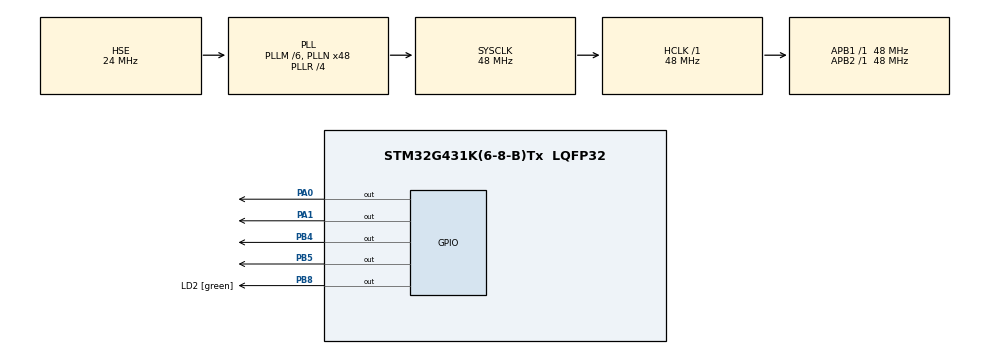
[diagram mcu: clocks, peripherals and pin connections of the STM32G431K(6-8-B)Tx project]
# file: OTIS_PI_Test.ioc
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Mcu.Family=STM32G4
Mcu.Name=STM32G431K(6-8-B)Tx
Mcu.Package=LQFP32
NVIC.PriorityGroup=NVIC_PRIORITYGROUP_4
NVIC.TIM4_IRQn=true\:0\:0\:false\:false\:true\:true\:true
PA0.Signal=GPIO_Output
PA1.Signal=GPIO_Output
PA13.GPIO_Label=T_SWDIO
PA13.Mode=Serial_Wire
PA13.Signal=SYS_JTMS-SWDIO
PA14.GPIO_Label=T_SWCLK
PA14.Mode=Serial_Wire
PA14.Signal=SYS_JTCK-SWCLK
PB4.Signal=GPIO_Output
PB5.Signal=GPIO_Output
PB8-BOOT0.GPIO_Label=LD2 [green]
PB8-BOOT0.Signal=GPIO_Output
PF0-OSC_IN.Mode=HSE-External-Oscillator
PF0-OSC_IN.Signal=RCC_OSC_IN
PF1-OSC_OUT.Mode=HSE-External-Oscillator
PF1-OSC_OUT.Signal=RCC_OSC_OUT
ProjectManager.HeapSize=0x200
ProjectManager.StackSize=0x400
ProjectManager.TargetToolchain=STM32CubeIDE
RCC.ADC12Freq_Value=48000000
RCC.AHBFreq_Value=48000000
RCC.APB1Freq_Value=48000000
RCC.APB1TimFreq_Value=48000000
RCC.APB2Freq_Value=48000000
RCC.APB2TimFreq_Value=48000000
RCC.CortexFreq_Value=48000000
RCC.EXTERNAL_CLOCK_VALUE=12288000
RCC.HCLKFreq_Value=48000000
RCC.HSE_VALUE=24000000
RCC.HSI48_VALUE=48000000
RCC.HSI_VALUE=16000000
RCC.LSE_VALUE=32768
RCC.PLLM=RCC_PLLM_DIV6
RCC.PLLN=48
RCC.PLLR=RCC_PLLR_DIV4
RCC.PLLSourceVirtual=RCC_PLLSOURCE_HSE
RCC.SYSCLKFreq_VALUE=48000000
RCC.SYSCLKSource=RCC_SYSCLKSOURCE_PLLCLK
RCC.USBFreq_Value=96000000
RCC.VCOOutputFreq_Value=192000000
TIM4.PeriodNoDither=500
TIM4.Prescaler=48000
VP_SYS_VS_DBSignals.Mode=DisableDeadBatterySignals
VP_TIM4_VS_ClockSourceINT.Mode=Internal
board=NUCLEO-G431KB

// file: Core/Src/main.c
/* USER CODE BEGIN Header */
/**
 *
 * OTIS Position Indicator display driver by JS106351 ©2023.
 *
 * This code was written for the OKI semiconductor MSM5267B-15 VFD driver.  Not tested with
 * the older OTIS displays with the National Semiconductor IC.
 * Feel free to use this code for your own application at your own risk, and if you want to share, please
 * credit the originator of the code.
 * The code was crudely written up to test a PI I had at my work and wanted to do this for some time ago.
 *
 * The clock and data lines have differential signalling so another IC must be used to communicate with the
 * device.  I ran the display at 12 volts although OTIS I believe uses 30V for their controllers and subsystems.
 *
 * The datasheet says that the driver takes 33 bits of segment data and on the 34th clock pulse latches the output,
 * but with my experimentation, I found out it takes 36 bits from OTIS weird clock design
 * with bit 0 as the output data latch, bit 1 does nothing, and the rest from bits 2 to 33 are the segment data.
 *
 *
  ******************************************************************************
  * @file           : main.c
  * @brief          : Main program body
  ******************************************************************************
  * @attention
  *
  * <h2><center>&copy; Copyright (c) 2023 STMicroelectronics.
  * All rights reserved.</center></h2>
  *
  * This software component is licensed by ST under BSD 3-Clause license,
  * the "License"; You may not use this file except in compliance with the
  * License. You may obtain a copy of the License at:
  *                        opensource.org/licenses/BSD-3-Clause
  *
  ******************************************************************************
  */
/* USER CODE END Header */
#include "main.h"

/* USER CODE BEGIN PD */

#define clock(state) HAL_GPIO_WritePin(GPIOA, GPIO_PIN_1, state)
#define data(state) HAL_GPIO_WritePin(GPIOA, GPIO_PIN_0, state)

/* USER CODE END PD */

TIM_HandleTypeDef htim4;

/* USER CODE BEGIN PV */
unsigned char data_register[38];		//buffer to send out to the VFD IC shift register

// Segment to data bit mapping after experimenting around

//Main Segments
// The 'n' segment is considered a dummy segment and is used for blanking or isolating purposes
#define a1 28
#define a2 30
#define b	32
#define c	2
#define d1	4
#define d2	6
#define	 e	8
#define f	26
#define g1	9
#define g2	33
#define n	1

// Intersegments
#define h	27
#define ii	29
#define j	31
#define k	7
#define l	5
#define m	3

//#define ma1	20
//#define ma2	22
//#define mb		24
//#define mc		10
//#define md1	14
//#define md2	12
//#define	 me		16
//#define mf		18
//#define mg1	17
//#define mg2	25

unsigned char count_up = 1;
unsigned char counter = 0;

//original lookup table layout

//unsigned char digit[11][10] = {
//		{a1, a2, b, c, d1, d2, e, f, n, n},		//0
//		{n, n, b, c, n, n, n, n, n, n},			//1
//		{a1, a2, b, n, d1, d2, e, n, g1, g2},	//2
//		{a1, a2, b, c, d1, d2, n, n, g1, g2},	//3
//		{n, n, b, c, n, n, n, f, g1, g2},		//4
//		{a1, a2, n, c, d1, d2, n, f, g1, g2}, 	//5
//		{a1, a2, n, c, d1, d2, e, f, g1, g2},	//6
//		{a1, a2, b, c, n, n, n, n, n, n},		//7
//		{a1, a2, b, c, d1 ,d2, e, f, g1, g2},	//8
//		{a1, a2, b, c, d1, d2, n, f, g1, g2}, 	//9
//		{n, n, n, n, n, n, n, n, n, n}			//blank
//};

unsigned char digit[11][10] = {
		{a1, a2, b, c, d1, d2, e, f, n, n},		//0
		{b, c, n, n, n, n, n, n, n, n},			//1
		{a1, a2, b, d1, d2, e, g1, g2, n, n},	//2
		{a1, a2, b, c, d1, d2, g1, g2, n, n},	//3
		{b, c, f, g1, g2, n, n, n, n, n},		//4
		{a1, a2, c, d1, d2, f, g1, g2, n, n}, 	//5
		{a1, a2, c, d1, d2, e, f, g1, g2, n},	//6
		{a1, a2, b, c, n, n, n, n, n, n},		//7
		{a1, a2, b, c, d1 ,d2, e, f, g1, g2},	//8
		{a1, a2, b, c, d1, d2, f, g1, g2, n}, 	//9
		{n, n, n, n, n, n, n, n, n, n}			//blank
};
//unsigned char mdigit[10][10] = {
//		{ma1, ma2, mb, mc, md1, md2, me, mf, n, n},	//0
//		{n, n, mb, mc, n, n, n, n, n, n},		//1
//		{ma1, ma2, mb, n, md1, md2, me, n, mg1, mg2},	//2
//		{ma1, ma2, mb, mc, md1, md2, n, n, mg1, mg2},		//3
//		{n, n, mb, mc, n, n, n, mf, mg1, mg2},						//4
//		{ma1, ma2, n, mc, md1, md2, n, mf, mg1, mg2}, 		//5
//		{ma1, ma2, n, mc, md1, md2, me, mf, mg1, mg2},		//6
//		{ma1, ma2, mb, mc, n, n, n, n, n, n},						//7
//		{ma1, ma2, mb, mc, md1, md2, me, mf, mg1, mg2},			//8
//		{ma1, ma2, mb, mc, md1, md2, n, mf, mg1, mg2} 		//9
//};

// Initialisation test message buffer, can be changed to show other characters like elevator floors, i.e. SB, B, L, *G, EZ, MZ PH, etc.
// All that needs to be done is reference the offsets in the buffer to show the data.
unsigned char message[15][10] = {
	{n, n, n, n, n, n, n, n, n, n},			//" "
	{a1, a2, b, c, d1, d2, e, f, n, n},		//O
	{a1, a2, ii, l, n, n, n, n, n, n},		//T
	{a1, a2, ii, l, d1, d2, n, n, n, n},	//I
	{a1, a2, n, c, d1, d2, n, f, g1, g2},	//S
	{g1, g2, n, n, n, n, n, n, n, n},		//-
	{a1, a2, b, e, f, g1, g2, n, n, n},		//P
	{a1, a2, ii, l, d1, d2, n, n, n, n},	//I
	{n, n, n, n, n, n, n, n, n, n},			//" "
	{a1, a2, ii, l, n, n, n, n, n, n},		//T
	{a1, a2, d1, d2, e, f, g1, n, n, n},	//E
	{a1, a2, n, c, d1, d2, n, f, g1, g2},	//S
	{a1, a2, ii, l, n, n, n, n, n, n},		//T
	{n, n, n, n, n, n, n, n, n, n},			//" "
	{n, n, n, n, n, n, n, n, n, n},			//" "

};

/* USER CODE END PV */

void SystemClock_Config(void);
static void MX_GPIO_Init(void);
static void MX_TIM4_Init(void);
/* USER CODE BEGIN PFP */

void shiftOut(void){

	//Had to add a delay to comply with timing requirements of the VFD driver IC, max frequency is 150kHz.
	for(int i = 0; i < 36; i++){
		data(data_register[i]);
		HAL_Delay(1);
		clock(1);
		HAL_Delay(5);
		clock(0);
		HAL_Delay(5);
	}
}

// Zero out the data register (except bit 0 which is the data latch) before updating it with new segment data information
void refresh(void){
	for(int i = 1; i < 38; i++){
	  data_register[i] = 0;
	}
}

void init(void){

	// For some odd reason if these sequences are not followed when initialising the display,
	// the display keeps outputting garbage

	data_register[0] = 1;
    for(int i = 1; i < 36; i++){		//38
    	data_register[i] = 0;
    }

    data_register[0] = 1;
    data(1);
    clock(1);
    HAL_Delay(20);
    clock(0);
    HAL_Delay(20);

    for(int i = 0; i < 36; i++){		//60
    	data(0);
    	HAL_Delay(1);
    	clock(1);
    	HAL_Delay(5);
    	clock(0);
    	HAL_Delay(5);
    }

    for(int i = 1; i < 36; i++){	//38
    	data_register[i] = 0;
    }

    clock(0);
    data(0);
    for(int i = 1; i < 36; i++){
    	data(data_register[i]);
    	HAL_Delay(1);
    	clock(1);
    	HAL_Delay(5);
    	clock(0);
    	HAL_Delay(5);
    }

}

void displayDigit(unsigned char number){

	unsigned char number_mod = (number / 10);		//extract most significant digit

	for(int i = 0; i < 10; i++){
		data_register[digit[number % 10][i]] = 1;	//extract and show least significant digit
	}
	if(number_mod < 1){
		for(int i = 0; i < 10; i++){
			data_register[digit[10][i]] = 1;		//blank the MSD if number is less than 10
		}
	}else{
		for(int i = 0; i < 10; i++){				//show most significant digit
			if(digit[number_mod][i] >= 26){
				data_register[digit[number_mod][i] - 8] = 1;
			}else if(digit[number_mod][i] == 1){
				data_register[digit[number_mod][i]] = 0;	//Used to prevent a stuck on segment based on offsets
			}else if(digit[number_mod][i] <= 25){
				data_register[digit[number_mod][i] + 8] = 1;
			}
		}
	}
}

/* USER CODE END PFP */

int main(void)
{

  /* MCU Configuration--------------------------------------------------------*/

  /* Reset of all peripherals, Initializes the Flash interface and the Systick. */
  HAL_Init();

  /* Configure the system clock */
  SystemClock_Config();

  /* Initialize all configured peripherals */
  MX_GPIO_Init();
  MX_TIM4_Init();
  /* USER CODE BEGIN 2 */

  HAL_TIM_Base_Start_IT(&htim4);

  refresh();

  init();

  __asm__("nop");

  // write scrolling message on display
  for(int nn = 0; nn < 14; nn++){

	  for(int i = 1; i < 38; i++){
		  data_register[i] = 0;
	  }

	  for(int i = 0; i < 10; i++){
		  data_register[message[nn + 1][i]] = 1;
	  }

	  for(int i = 0; i < 10; i++){

		  if(message[nn][i] >= 26){
			  data_register[message[nn][i] - 8] = 1;
		  }else if(message[nn][i] == 1){
			  data_register[message[nn][i]] = 0;
		  }else if(message[nn][i] < 25){
			  data_register[message[nn][i] + 8] = 1;
		  }

	  }
	  shiftOut();
	  HAL_Delay(100);

}

  refresh();
  shiftOut();
  /* USER CODE END 2 */

  /* Infinite loop */
  /* USER CODE BEGIN WHILE */
  while (1)
  {

	  if(count_up == 1){
		  counter++;
	  }else{
		  counter--;
	  }

	  if(counter > 98){
		  count_up = 0;
	  }else if(counter < 1){
		  count_up = 1;
	  }

	  refresh();

	  displayDigit(counter);

	  shiftOut();

	  HAL_Delay(200);
	  //}
    /* USER CODE END WHILE */

  }
}

void SystemClock_Config(void)
{
  RCC_OscInitTypeDef RCC_OscInitStruct = {0};
  RCC_ClkInitTypeDef RCC_ClkInitStruct = {0};

  /** Configure the main internal regulator output voltage
  */
  HAL_PWREx_ControlVoltageScaling(PWR_REGULATOR_VOLTAGE_SCALE1);
  /** Initializes the RCC Oscillators according to the specified parameters
  * in the RCC_OscInitTypeDef structure.
  */
  RCC_OscInitStruct.OscillatorType = RCC_OSCILLATORTYPE_HSE;
  RCC_OscInitStruct.HSEState = RCC_HSE_ON;
  RCC_OscInitStruct.PLL.PLLState = RCC_PLL_ON;
  RCC_OscInitStruct.PLL.PLLSource = RCC_PLLSOURCE_HSE;
  RCC_OscInitStruct.PLL.PLLM = RCC_PLLM_DIV6;
  RCC_OscInitStruct.PLL.PLLN = 48;
  RCC_OscInitStruct.PLL.PLLP = RCC_PLLP_DIV2;
  RCC_OscInitStruct.PLL.PLLQ = RCC_PLLQ_DIV2;
  RCC_OscInitStruct.PLL.PLLR = RCC_PLLR_DIV4;
  if (HAL_RCC_OscConfig(&RCC_OscInitStruct) != HAL_OK)
  {
    Error_Handler();
  }
  /** Initializes the CPU, AHB and APB buses clocks
  */
  RCC_ClkInitStruct.ClockType = RCC_CLOCKTYPE_HCLK|RCC_CLOCKTYPE_SYSCLK
                              |RCC_CLOCKTYPE_PCLK1|RCC_CLOCKTYPE_PCLK2;
  RCC_ClkInitStruct.SYSCLKSource = RCC_SYSCLKSOURCE_PLLCLK;
  RCC_ClkInitStruct.AHBCLKDivider = RCC_SYSCLK_DIV1;
  RCC_ClkInitStruct.APB1CLKDivider = RCC_HCLK_DIV1;
  RCC_ClkInitStruct.APB2CLKDivider = RCC_HCLK_DIV1;

  if (HAL_RCC_ClockConfig(&RCC_ClkInitStruct, FLASH_LATENCY_1) != HAL_OK)
  {
    Error_Handler();
  }
}

static void MX_TIM4_Init(void)
{

  TIM_ClockConfigTypeDef sClockSourceConfig = {0};
  TIM_MasterConfigTypeDef sMasterConfig = {0};

  htim4.Instance = TIM4;
  htim4.Init.Prescaler = 48000;
  htim4.Init.CounterMode = TIM_COUNTERMODE_UP;
  htim4.Init.Period = 500;
  htim4.Init.ClockDivision = TIM_CLOCKDIVISION_DIV1;
  htim4.Init.AutoReloadPreload = TIM_AUTORELOAD_PRELOAD_DISABLE;
  if (HAL_TIM_Base_Init(&htim4) != HAL_OK)
  {
    Error_Handler();
  }
  sClockSourceConfig.ClockSource = TIM_CLOCKSOURCE_INTERNAL;
  if (HAL_TIM_ConfigClockSource(&htim4, &sClockSourceConfig) != HAL_OK)
  {
    Error_Handler();
  }
  sMasterConfig.MasterOutputTrigger = TIM_TRGO_RESET;
  sMasterConfig.MasterSlaveMode = TIM_MASTERSLAVEMODE_DISABLE;
  if (HAL_TIMEx_MasterConfigSynchronization(&htim4, &sMasterConfig) != HAL_OK)
  {
    Error_Handler();
  }

}

static void MX_GPIO_Init(void)
{
  GPIO_InitTypeDef GPIO_InitStruct = {0};

  /* GPIO Ports Clock Enable */
  __HAL_RCC_GPIOF_CLK_ENABLE();
  __HAL_RCC_GPIOA_CLK_ENABLE();
  __HAL_RCC_GPIOB_CLK_ENABLE();

  /*Configure GPIO pin Output Level */
  HAL_GPIO_WritePin(GPIOA, GPIO_PIN_0|GPIO_PIN_1, GPIO_PIN_RESET);

  /*Configure GPIO pin Output Level */
  HAL_GPIO_WritePin(GPIOB, GPIO_PIN_4|GPIO_PIN_5|LD2_Pin, GPIO_PIN_RESET);

  /*Configure GPIO pins : PA0 PA1 */
  GPIO_InitStruct.Pin = GPIO_PIN_0|GPIO_PIN_1;
  GPIO_InitStruct.Mode = GPIO_MODE_OUTPUT_PP;
  GPIO_InitStruct.Pull = GPIO_NOPULL;
  GPIO_InitStruct.Speed = GPIO_SPEED_FREQ_LOW;
  HAL_GPIO_Init(GPIOA, &GPIO_InitStruct);

  /*Configure GPIO pins : PB4 PB5 LD2_Pin */
  GPIO_InitStruct.Pin = GPIO_PIN_4|GPIO_PIN_5|LD2_Pin;
  GPIO_InitStruct.Mode = GPIO_MODE_OUTPUT_PP;
  GPIO_InitStruct.Pull = GPIO_NOPULL;
  GPIO_InitStruct.Speed = GPIO_SPEED_FREQ_LOW;
  HAL_GPIO_Init(GPIOB, &GPIO_InitStruct);

}

void Error_Handler(void)
{
  __disable_irq();
  while (1)
  {
  }
}

/************************ (C) COPYRIGHT STMicroelectronics *****END OF FILE****/
